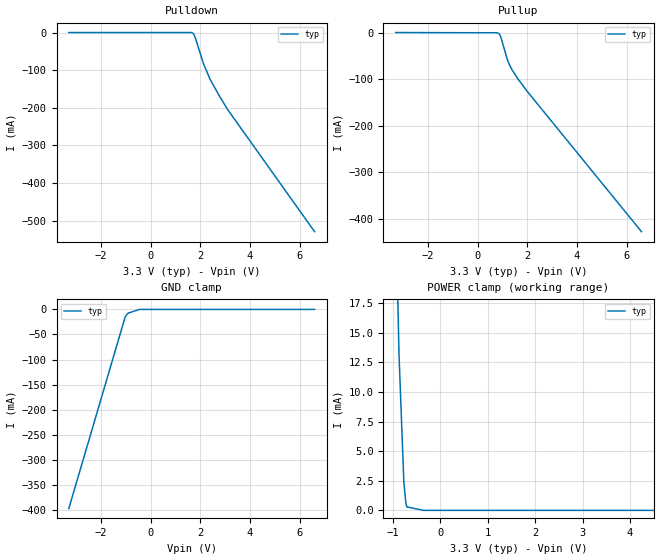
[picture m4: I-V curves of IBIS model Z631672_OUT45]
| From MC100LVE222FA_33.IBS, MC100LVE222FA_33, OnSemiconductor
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| (C) COPYRIGHT 1993-2000
| MENTOR GRAPHICS CORPORATION
| ICX STANDARD LIBRARY, ICX PROJECT MODELING,
| ICX CUSTOM MODELING, ICX VENDOR MODEL
| ALL RIGHTS RESERVED.
| THE FOLLOWING ARE TRADEMARKS OR SERVICE MARKS OF
| MENTOR GRAPHICS CORPORATION:ICX (R), ICX STANDARD
| LIBRARY(R), ICX PROJECT MODELING(R), ICX CUSTOM
| MODELING(R), qualityIBIS(TM), MODELVIEWER(TM),
| AND MODELEDITOR(TM)
| ALL COPIES OF SOFTWARE, INCLUDING BUT NOT LIMITED TO
| ANY MODIFICATIONS, ENHANCEMENTS OR DERIVATIVE WORKS,
| MUST CONTAIN ALL MENTOR GRAPHICS CORPORATION'S
| NOTICES AND LEGENDS, INCLUDING THOSE EMBEDDED IN
| SOFTWARE AND THOSE AFFIXED TO SOFTWARE MEDIUM
| AND CONTAINER, AS RECEIVED FROM MENTOR GRAPHICS
| CORPORATION.
| Model Application Version 1.89 2/18/99.
[Model] Z631672_OUT45
Model_type Output_ECL
Vref=1.300V
Rref=50.00ohms
Cref=0.000F
Vmeas=1.977V
C_comp 8.000pF NA NA
| variable typ   min   max
[Voltage Range] 3.300V NA NA
[POWER Clamp Reference] 3.300V NA NA
[Pullup Reference] 3.300V NA NA
[Pulldown Reference] 3.300V NA NA
[GND Clamp Reference] 0.000V NA NA
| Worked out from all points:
|   POWER clamp passes 1 mA (typ) near -0.74 V on its own axis
[GND Clamp]
-3.3V     -397mA     NA         NA
-1.034V   -15.7mA    NA         NA
-953mV    -9.207mA   NA         NA
-892mV    -7.064mA   NA         NA
-446mV    0A         NA         NA
6.6V      0A         NA         NA
[Pulldown]
-3.3V     0A         NA         NA
1.577V    0A         NA         NA
1.699V    -1.8mA     NA         NA
1.76V     -7.9mA     NA         NA
1.82V     -18.9mA    NA         NA
2.124V    -82.9mA    NA         NA
2.388V    -124mA     NA         NA
2.753V    -167.5mA   NA         NA
3.097V    -204.8mA   NA         NA
6.6V      -529.6mA   NA         NA
[Pullup]
-3.3V     471uA      NA         NA
41.5mV    0A         NA         NA
751mV     0A         NA         NA
812mV     -300uA     NA         NA
873mV     -2.3mA     NA         NA
934mV     -9mA       NA         NA
1.197V    -57.5mA    NA         NA
1.278V    -68.4mA    NA         NA
1.379V    -78.9mA    NA         NA
1.622V    -98.9mA    NA         NA
1.987V    -125.1mA   NA         NA
6.6V      -427.1mA   NA         NA
[POWER Clamp]
-3.3V     829.6mA    NA         NA
-1.012V   38.45mA    NA         NA
-871mV    13.17mA    NA         NA
-769mV    2.386mA    NA         NA
-729mV    691.4uA    NA         NA
-708mV    294.4uA    NA         NA
-354mV    0A         NA         NA
6.6V      0A         NA         NA
[Ramp]
| variable typ min max
dV/dt_r 398.9m/263.5p NA NA
dV/dt_f 398.9m/227.7p NA NA
R_load = 50.00Ohms
